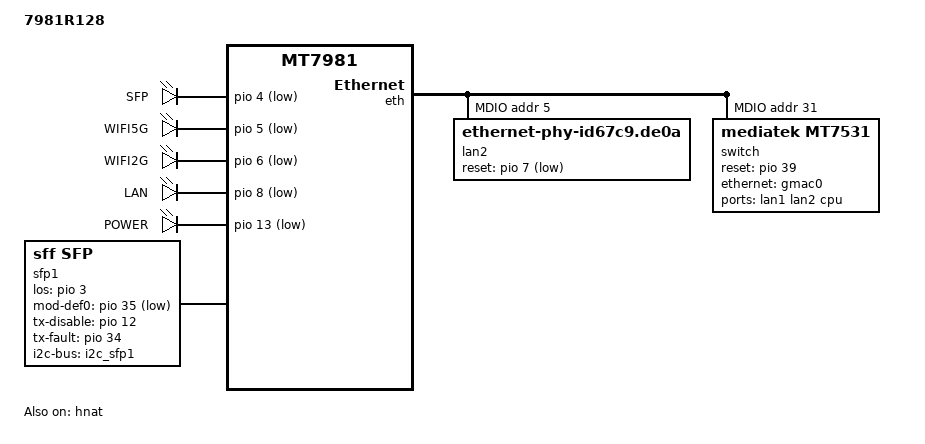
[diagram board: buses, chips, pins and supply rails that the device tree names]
// SPDX-License-Identifier: (GPL-2.0-or-later OR MIT)
/*
 * Copyright Zhaolaibin's SX-7981R128 Update By nanchuci
 */

/dts-v1/;
#include "mt7981-spim-nand-7981rxxx.dtsi"

/ {
	model = "7981R128";
	compatible = "mediatek,mt7981-spim-snand-7981r128";

	leds {
		compatible = "gpio-leds";

		SFP: sfp {
			label = "SFP";
			gpios = <&pio 4 GPIO_ACTIVE_LOW>;
			default-state = "off";
		};

		WIFI5G: wifi5g {
			label = "WIFI5G";
			gpios = <&pio 5 GPIO_ACTIVE_LOW>;
			default-state = "off";
		};

		WIFI2G: wifi2g {
			label = "WIFI2G";
			gpios = <&pio 6 GPIO_ACTIVE_LOW>;
			default-state = "off";
		};

		LAN: lan {
			label = "LAN";
			gpios = <&pio 8 GPIO_ACTIVE_LOW>;
			default-state = "off";
		};

		POWER: power {
			label = "POWER";
			gpios = <&pio 13 GPIO_ACTIVE_LOW>;
			default-state = "on";
		};
	};

	sfp1: sfp-wan {
		compatible = "sff,sfp";
		i2c-bus = <&i2c_sfp1>;
		los-gpios = <&pio 3 GPIO_ACTIVE_HIGH>;
		mod-def0-gpios = <&pio 35 GPIO_ACTIVE_LOW>;
		tx-disable-gpios = <&pio 12 GPIO_ACTIVE_HIGH>;
		tx-fault-gpios = <&pio 34 GPIO_ACTIVE_HIGH>;
		maximum-power-milliwatt = <3000>;
	};
};

&eth {
	status = "okay";

	gmac0: mac@0 {
		compatible = "mediatek,eth-mac";
		reg = <0>;
		phy-mode = "2500base-x";

		fixed-link {
			speed = <2500>;
			full-duplex;
			pause;
		};
	};

	gmac1: mac@1 {
		compatible = "mediatek,eth-mac";
		reg = <1>;
		phy-mode = "2500base-x";
		managed = "in-band-status";
		sfp = <&sfp1>;
	};

	mdio: mdio-bus {
		#address-cells = <1>;
		#size-cells = <0>;

		phy5: phy@5 {
			/* Intel GPY211 (SLNW8) */
			compatible = "ethernet-phy-id67c9.de0a";
			/* GPY211 Address */
			reg = <5>;
			reset-gpios = <&pio 7 GPIO_ACTIVE_LOW>;
			reset-assert-us = <600>;
			reset-deassert-us = <20000>;
			phy-mode = "2500base-x";
			maxlinear,led-drive-vdd;
			maxlinear,led-reg = <0x3c0 0x330 0x3f 0x0>;
			label = "lan2";
		};

		switch@0 {
			compatible = "mediatek,mt7531";
			reg = <31>;
			reset-gpios = <&pio 39 0>;

			ports {
				#address-cells = <1>;
				#size-cells = <0>;

				port@1 {
					reg = <1>;
					label = "lan1";
				};

				port@5 {
					reg = <5>;
					label = "lan2";
					phy-mode = "2500base-x";
					phy-handle = <&phy5>;
				};

				port@6 {
					reg = <6>;
					label = "cpu";
					ethernet = <&gmac0>;
					phy-mode = "2500base-x";

					fixed-link {
						speed = <2500>;
						full-duplex;
						pause;
					};
				};
			};
		};
	};
};

&hnat {
	mtketh-wan = "eth1";
	mtketh-lan = "lan";
	mtketh-max-gmac = <2>;
	ext-devices-prefix = "usb", "wwan", "rmnet";
	status = "okay";
};
